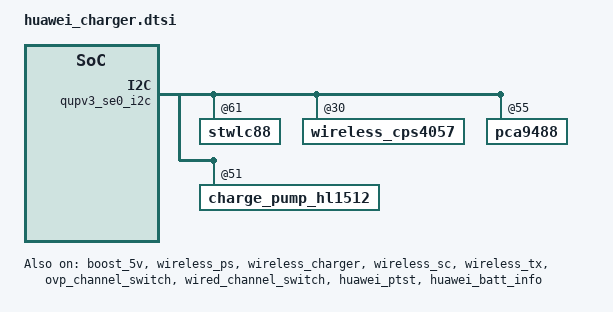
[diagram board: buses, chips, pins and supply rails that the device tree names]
&qupv3_se0_i2c {
	stwlc88@61 {
		status = "ok";
	};
	wireless_cps4057@30 {
		support_multi_tx = <1>;
		#include "../../../huawei_charger/cps4057_ELZ_fodpara_proplus.dtsi"
		status = "ok";
	};
	pca9488@55 {
		status = "ok";
	};
	charge_pump_hl1512@51 {
		status = "ok";
	};
};

&boost_5v {
	status = "ok";
};

&wireless_ps {
	status = "ok";
};

&wireless_charger {
	fod_status = <0x3A41>;
	fod_status_para = <
		/* tx_type  fod_status */
		13    0x2B3E
	>;
	status = "ok";
};

&wireless_sc {
	status = "ok";
};

&wireless_tx {
	status = "ok";
};

&ovp_channel_switch {
	status = "ok";
};

&wired_channel_switch {
	status = "ok";
};

&huawei_ptst {
	/* definition refered to huawei_power_test.dtsi */
	wlc_mmi = <1>;
	wlc_mmi_para = <40 0x07 2 1300 7500 0>;
	wl_hw_test = <1>;
	wl_hw_module = <0x1>;
	wlc_wp = <1>;
	wlc_wp_para = <1000>;
	status = "ok";
};

&huawei_batt_info {
	status = "ok";
	shield_ct_sign = <1>;
};
